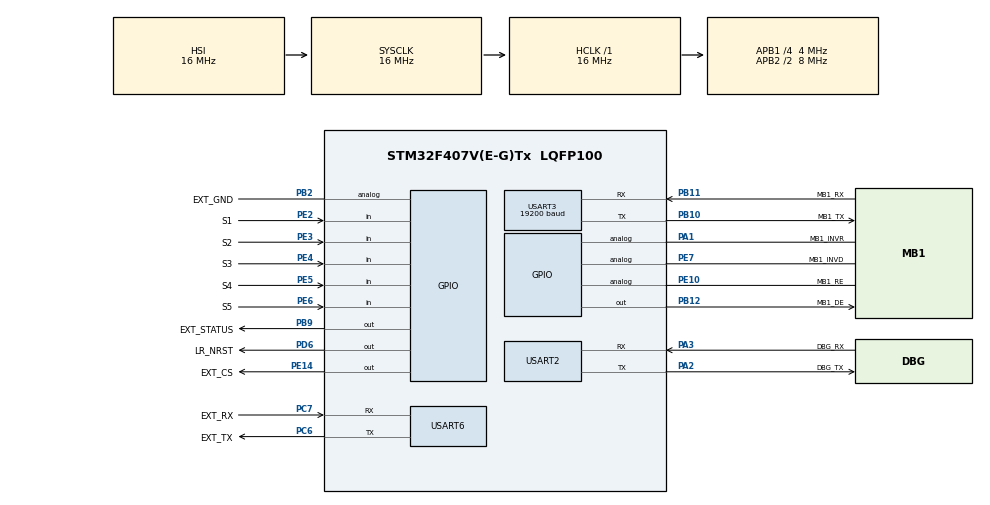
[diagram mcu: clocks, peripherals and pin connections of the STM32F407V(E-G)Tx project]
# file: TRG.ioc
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Dma.Request0=USART3_TX
Dma.Request1=USART3_RX
Dma.USART3_RX.1.Direction=DMA_PERIPH_TO_MEMORY
Dma.USART3_RX.1.FIFOMode=DMA_FIFOMODE_DISABLE
Dma.USART3_RX.1.Instance=DMA1_Stream1
Dma.USART3_RX.1.MemDataAlignment=DMA_MDATAALIGN_BYTE
Dma.USART3_RX.1.MemInc=DMA_MINC_ENABLE
Dma.USART3_RX.1.Mode=DMA_NORMAL
Dma.USART3_RX.1.PeriphDataAlignment=DMA_PDATAALIGN_BYTE
Dma.USART3_RX.1.PeriphInc=DMA_PINC_DISABLE
Dma.USART3_RX.1.Priority=DMA_PRIORITY_LOW
Dma.USART3_TX.0.Direction=DMA_MEMORY_TO_PERIPH
Dma.USART3_TX.0.FIFOMode=DMA_FIFOMODE_ENABLE
Dma.USART3_TX.0.FIFOThreshold=DMA_FIFO_THRESHOLD_FULL
Dma.USART3_TX.0.Instance=DMA1_Stream3
Dma.USART3_TX.0.MemBurst=DMA_MBURST_SINGLE
Dma.USART3_TX.0.MemDataAlignment=DMA_MDATAALIGN_BYTE
Dma.USART3_TX.0.MemInc=DMA_MINC_ENABLE
Dma.USART3_TX.0.Mode=DMA_NORMAL
Dma.USART3_TX.0.PeriphBurst=DMA_PBURST_SINGLE
Dma.USART3_TX.0.PeriphDataAlignment=DMA_PDATAALIGN_BYTE
Dma.USART3_TX.0.PeriphInc=DMA_PINC_DISABLE
Dma.USART3_TX.0.Priority=DMA_PRIORITY_LOW
FREERTOS.BinarySemaphores01=processBinarySem,Dynamic,NULL
FREERTOS.INCLUDE_eTaskGetState=1
FREERTOS.INCLUDE_vTaskDelayUntil=1
FREERTOS.INCLUDE_xEventGroupSetBitFromISR=1
FREERTOS.INCLUDE_xTaskGetCurrentTaskHandle=1
FREERTOS.INCLUDE_xTimerPendFunctionCall=1
FREERTOS.Mutexes01=processMutex,Dynamic,NULL
FREERTOS.Queues01=msgQueue,16,uint32_t,0,Dynamic,NULL,NULL
FREERTOS.Tasks01=defaultTask,0,128,StartDefaultTask,Default,NULL,Dynamic,NULL,NULL;modbusTask,0,1280,StartModbusTask,Default,NULL,Dynamic,NULL,NULL;loraTask,0,2048,StartLoRaTask,Default,NULL,Dynamic,NULL,NULL
FREERTOS.Timers01=modbusTimer,modbusTimerCallback,osTimerPeriodic,Default,NULL,Dynamic,NULL;heartbeatTimer,heartbeatTimerCallback,osTimerPeriodic,Default,NULL,Dynamic,NULL;telemetryTimer,telemetryTimerCallback,osTimerPeriodic,Default,NULL,Dynamic,NULL
FREERTOS.configCHECK_FOR_STACK_OVERFLOW=1
FREERTOS.configENABLE_FPU=1
FREERTOS.configGENERATE_RUN_TIME_STATS=1
FREERTOS.configUSE_NEWLIB_REENTRANT=1
FREERTOS.configUSE_POSIX_ERRNO=1
FREERTOS.configUSE_PREEMPTION=1
FREERTOS.configUSE_TIMERS=1
FREERTOS.configUSE_TRACE_FACILITY=1
Mcu.Family=STM32F4
Mcu.Name=STM32F407V(E-G)Tx
Mcu.Package=LQFP100
NVIC.DMA1_Stream1_IRQn=true\:0\:0\:false\:false\:true\:true\:false\:true
NVIC.DMA1_Stream3_IRQn=true\:0\:0\:false\:false\:true\:true\:false\:true
NVIC.PriorityGroup=NVIC_PRIORITYGROUP_4
NVIC.TIM6_DAC_IRQn=true\:0\:0\:false\:false\:true\:false\:false\:true
NVIC.TimeBase=TIM6_DAC_IRQn
NVIC.TimeBaseIP=TIM6
NVIC.USART2_IRQn=true\:0\:0\:false\:false\:true\:true\:true\:true
NVIC.USART3_IRQn=true\:0\:0\:false\:false\:true\:false\:true\:true
NVIC.USART6_IRQn=true\:0\:0\:false\:false\:true\:true\:true\:true
PA1.GPIO_Label=MB1_INVR
PA1.Signal=GPIO_Analog
PA1.Stacked=true
PA13.Mode=JTAG_4_pins
PA13.Signal=SYS_JTMS-SWDIO
PA14.Mode=JTAG_4_pins
PA14.Signal=SYS_JTCK-SWCLK
PA15.Mode=JTAG_4_pins
PA15.Signal=SYS_JTDI
PA2.GPIO_Label=DBG_TX
PA2.Mode=Asynchronous
PA2.Signal=USART2_TX
PA3.GPIO_Label=DBG_RX
PA3.Mode=Asynchronous
PA3.Signal=USART2_RX
PB0.GPIO_Label=EXT_TIM
PB0.Signal=S_TIM3_CH3
PB1.GPIO_Label=EXT_ADC
PB1.Signal=ADCx_IN9
PB10.GPIO_Label=MB1_TX
PB10.Signal=SharedStack_PB10
PB10.Stacked=true
PB11.GPIO_Label=MB1_RX
PB11.Signal=SharedStack_PB11
PB11.Stacked=true
PB12.GPIO_Label=MB1_DE
PB12.GPIO_PuPd=GPIO_PULLUP
PB12.GPIO_Speed=GPIO_SPEED_FREQ_VERY_HIGH
PB12.PinState=GPIO_PIN_SET
PB12.Signal=GPIO_Output
PB13.GPIO_Label=EXT_SCK
PB13.Signal=SPI2_SCK
PB14.GPIO_Label=EXT_MISO
PB14.Signal=SPI2_MISO
PB15.GPIO_Label=EXT_MOSI
PB15.Signal=SPI2_MOSI
PB2.GPIO_Label=EXT_GND
PB2.Signal=GPIO_Analog
PB2.Stacked=true
PB3.Mode=JTAG_4_pins
PB3.Signal=SYS_JTDO-SWO
PB7.GPIO_Label=EXT_SDA
PB7.Signal=I2C1_SDA
PB8.GPIO_Label=EXT_SCL
PB8.Signal=I2C1_SCL
PB9.GPIO_Label=EXT_STATUS
PB9.GPIO_PuPd=GPIO_PULLUP
PB9.GPIO_Speed=GPIO_SPEED_FREQ_VERY_HIGH
PB9.PinState=GPIO_PIN_SET
PB9.Signal=GPIO_Output
PC6.GPIO_Label=EXT_TX
PC6.GPIO_PuPd=GPIO_PULLUP
PC6.Mode=Asynchronous
PC6.Signal=USART6_TX
PC7.GPIO_Label=EXT_RX
PC7.GPIO_PuPd=GPIO_PULLUP
PC7.Mode=Asynchronous
PC7.Signal=USART6_RX
PD1.GPIO_Label=EXT_CAN_TX
PD1.Signal=CAN1_TX
PD6.GPIO_Label=LR_NRST
PD6.GPIO_PuPd=GPIO_PULLUP
PD6.GPIO_Speed=GPIO_SPEED_FREQ_VERY_HIGH
PD6.PinState=GPIO_PIN_SET
PD6.Signal=GPIO_Output
PE10.GPIO_Label=MB1_RE
PE10.GPIO_PuPd=GPIO_PULLUP
PE10.PinState=GPIO_PIN_SET
PE10.Signal=GPIO_Analog
PE10.Stacked=true
PE14.GPIO_Label=EXT_CS
PE14.GPIO_PuPd=GPIO_PULLUP
PE14.GPIO_Speed=GPIO_SPEED_FREQ_VERY_HIGH
PE14.PinState=GPIO_PIN_SET
PE14.Signal=GPIO_Output
PE2.GPIO_Label=S1
PE2.Signal=GPIO_Input
PE3.GPIO_Label=S2
PE3.Signal=GPIO_Input
PE4.GPIO_Label=S3
PE4.Signal=GPIO_Input
PE5.GPIO_Label=S4
PE5.Signal=GPIO_Input
PE6.GPIO_Label=S5
PE6.Signal=GPIO_Input
PE7.GPIO_Label=MB1_INVD
PE7.Signal=GPIO_Analog
PE7.Stacked=true
PH0-OSC_IN.Mode=HSE-External-Clock-Source
PH0-OSC_IN.Signal=RCC_OSC_IN
PH1-OSC_OUT.Mode=HSE-External-Clock-Source
PH1-OSC_OUT.Signal=RCC_OSC_OUT
ProjectManager.HeapSize=0x200
ProjectManager.StackSize=0x400
ProjectManager.TargetToolchain=STM32CubeIDE
RCC.48MHZClocksFreq_Value=112000000
RCC.AHBFreq_Value=16000000
RCC.APB1CLKDivider=RCC_HCLK_DIV4
RCC.APB1Freq_Value=4000000
RCC.APB1TimFreq_Value=8000000
RCC.APB2CLKDivider=RCC_HCLK_DIV2
RCC.APB2Freq_Value=8000000
RCC.APB2TimFreq_Value=16000000
RCC.CortexFreq_Value=16000000
RCC.HCLKFreq_Value=16000000
RCC.HSE_VALUE=8000000
RCC.HSI_VALUE=16000000
RCC.LSE_VALUE=32768
RCC.PLLM=8
RCC.PLLN=168
RCC.PLLQ=3
RCC.SYSCLKFreq_VALUE=16000000
RCC.VCOOutputFreq_Value=336000000
SH.ADCx_IN9.0=ADC1_IN9
SH.S_TIM3_CH3.0=TIM3_CH3
SH.SharedStack_PB10.0=USART3_TX,Asynchronous
SH.SharedStack_PB11.0=USART3_RX,Asynchronous
USART2.VirtualMode=VM_ASYNC
USART3.BaudRate=19200
USART3.Parity=PARITY_NONE
USART3.StopBits=STOPBITS_2
USART3.VirtualMode=VM_ASYNC
USART6.VirtualMode=VM_ASYNC
VP_FREERTOS_VS_CMSIS_V1.Mode=CMSIS_V1
VP_SYS_VS_tim6.Mode=TIM6
board=custom

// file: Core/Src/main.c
/* USER CODE BEGIN Header */
/**
  ******************************************************************************
  * @file           : main.c
  * @brief          : Main program body
  ******************************************************************************
  * @attention
  *
  * <h2><center>&copy; Copyright (c) 2020 STMicroelectronics.
  * All rights reserved.</center></h2>
  *
  * This software component is licensed by ST under BSD 3-Clause license,
  * the "License"; You may not use this file except in compliance with the
  * License. You may obtain a copy of the License at:
  *                        opensource.org/licenses/BSD-3-Clause
  *
  ******************************************************************************
  */
/* USER CODE END Header */
#include "main.h"
#include "cmsis_os.h"
#include "dma.h"
#include "usart.h"
#include "gpio.h"

/* USER CODE BEGIN Includes */
#include "ModBus.h"
#include "ModBusPort.h"
#include "stdio.h"
/* USER CODE END Includes */

void SystemClock_Config(void);
void MX_FREERTOS_Init(void);

/* USER CODE BEGIN 0 */
/**
 * @brief		Trace output for standard output
 */
int fputc(int ch, FILE *f) {
  return ITM_SendChar(ch);
}

int _read(int file, char *ptr, int len) {
  int DataIdx;

  for (DataIdx = 0; DataIdx < len; DataIdx++) {
    *(uint8_t *)ptr++ = __io_getchar();
  }

  return len;
}

int _write(int file, char *ptr, int len) {
  int DataIdx;

//  osSemaphoreWait(coreBinarySemHandle, 5000);

  for (DataIdx = 0; DataIdx < len; DataIdx++) {
    __io_putchar(*ptr++);
//    HAL_UART_Transmit(&huart2, (uint8_t *)ptr++, 1, 500);
  }

//  osSemaphoreRelease(coreBinarySemHandle);

  return len;
}

int __io_putchar(int ch) {
  return HAL_UART_Transmit(&huart2, (uint8_t *)&ch, 1, 500) == HAL_OK ? 0 : -1;
}

int __io_getchar(void)
{
	int ch;
	HAL_UART_Receive(&huart2, (uint8_t *)&ch, 1, 500);
	return ch;
}
/* USER CODE END 0 */

int main(void)
{

  /* MCU Configuration--------------------------------------------------------*/

  /* Reset of all peripherals, Initializes the Flash interface and the Systick. */
  HAL_Init();

  /* Configure the system clock */
  SystemClock_Config();

  /* USER CODE BEGIN SysInit */
  HAL_DBGMCU_EnableDBGSleepMode();
  HAL_DBGMCU_EnableDBGStandbyMode();
  HAL_DBGMCU_EnableDBGStopMode();
  /* USER CODE END SysInit */

  /* Initialize all configured peripherals */
  MX_GPIO_Init();
  MX_DMA_Init();
  MX_USART3_UART_Init();
  MX_USART2_UART_Init();
  MX_USART6_UART_Init();

  /* Call init function for freertos objects (in freertos.c) */
  MX_FREERTOS_Init();
  /* Start scheduler */
  osKernelStart();

  /* We should never get here as control is now taken by the scheduler */
  /* Infinite loop */
  while (1)
  {

  }
}

void SystemClock_Config(void)
{
  RCC_OscInitTypeDef RCC_OscInitStruct = {0};
  RCC_ClkInitTypeDef RCC_ClkInitStruct = {0};

  /** Configure the main internal regulator output voltage
  */
  __HAL_RCC_PWR_CLK_ENABLE();
  __HAL_PWR_VOLTAGESCALING_CONFIG(PWR_REGULATOR_VOLTAGE_SCALE1);
  /** Initializes the RCC Oscillators according to the specified parameters
  * in the RCC_OscInitTypeDef structure.
  */
  RCC_OscInitStruct.OscillatorType = RCC_OSCILLATORTYPE_HSI;
  RCC_OscInitStruct.HSIState = RCC_HSI_ON;
  RCC_OscInitStruct.HSICalibrationValue = RCC_HSICALIBRATION_DEFAULT;
  RCC_OscInitStruct.PLL.PLLState = RCC_PLL_NONE;
  if (HAL_RCC_OscConfig(&RCC_OscInitStruct) != HAL_OK)
  {
    Error_Handler();
  }
  /** Initializes the CPU, AHB and APB buses clocks
  */
  RCC_ClkInitStruct.ClockType = RCC_CLOCKTYPE_HCLK|RCC_CLOCKTYPE_SYSCLK
                              |RCC_CLOCKTYPE_PCLK1|RCC_CLOCKTYPE_PCLK2;
  RCC_ClkInitStruct.SYSCLKSource = RCC_SYSCLKSOURCE_HSI;
  RCC_ClkInitStruct.AHBCLKDivider = RCC_SYSCLK_DIV1;
  RCC_ClkInitStruct.APB1CLKDivider = RCC_HCLK_DIV4;
  RCC_ClkInitStruct.APB2CLKDivider = RCC_HCLK_DIV2;

  if (HAL_RCC_ClockConfig(&RCC_ClkInitStruct, FLASH_LATENCY_0) != HAL_OK)
  {
    Error_Handler();
  }
}

void HAL_TIM_PeriodElapsedCallback(TIM_HandleTypeDef *htim)
{
  if (htim->Instance == TIM6) {
    HAL_IncTick();
  }
  /* USER CODE BEGIN Callback 1 */
  else if (htim->Instance == TIM13)
  {

  }
  else if (htim->Instance == TIM14)
  {

  }
  /* USER CODE END Callback 1 */
}

void Error_Handler(void)
{
  /* USER CODE BEGIN Error_Handler_Debug */
  /* User can add his own implementation to report the HAL error return state */
	 NVIC_SystemReset();
  /* USER CODE END Error_Handler_Debug */
}

/************************ (C) COPYRIGHT STMicroelectronics *****END OF FILE****/

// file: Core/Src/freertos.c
/* USER CODE BEGIN Header */
/**
  ******************************************************************************
  * File Name          : freertos.c
  * Description        : Code for freertos applications
  ******************************************************************************
  * @attention
  *
  * <h2><center>&copy; Copyright (c) 2020 STMicroelectronics.
  * All rights reserved.</center></h2>
  *
  * This software component is licensed by ST under Ultimate Liberty license
  * SLA0044, the "License"; You may not use this file except in compliance with
  * the License. You may obtain a copy of the License at:
  *                             www.st.com/SLA0044
  *
  ******************************************************************************
  */
/* USER CODE END Header */

#include "FreeRTOS.h"
#include "task.h"
#include "main.h"
#include "cmsis_os.h"

/* USER CODE BEGIN Includes */
#include "string.h"
#include "ModBus.h"
#include "ModBusPort.h"
#include "WiMOD_LoRaWAN_API.h"
/* USER CODE END Includes */

/* USER CODE BEGIN PTD */
evState_t ev;
user_data_t sData_t;
/* USER CODE END PTD */

/* USER CODE BEGIN Variables */
int iSlaveId;
bool bReadyToSend = false;
uint32_t iCounter = 0;
/* USER CODE END Variables */
osThreadId defaultTaskHandle;
osThreadId modbusTaskHandle;
osThreadId loraTaskHandle;
osMessageQId msgQueueHandle;
osTimerId modbusTimerHandle;
osTimerId heartbeatTimerHandle;
osTimerId telemetryTimerHandle;
osMutexId processMutexHandle;
osSemaphoreId processBinarySemHandle;

/* USER CODE BEGIN FunctionPrototypes */
int loraDataRx(uint8_t fport, uint8_t* data, size_t len)
{
    switch(fport) {
    case 99:
       //Restart system
      NVIC_SystemReset();
      break;

    case 3:
      if(len == 1) {
        //lora tx perior
        sData_t.period = loraAppStatus.period = *data;
        ev.commu = RUNNING;
      }
      break;
    default: break;
    };
    return 0;
}
/* USER CODE END FunctionPrototypes */

void StartDefaultTask(void const * argument);
void StartModbusTask(void const * argument);
void StartLoRaTask(void const * argument);
void modbusTimerCallback(void const * argument);
void heartbeatTimerCallback(void const * argument);
void telemetryTimerCallback(void const * argument);

void MX_FREERTOS_Init(void); /* (MISRA C 2004 rule 8.1) */

/* GetIdleTaskMemory prototype (linked to static allocation support) */
void vApplicationGetIdleTaskMemory( StaticTask_t **ppxIdleTaskTCBBuffer, StackType_t **ppxIdleTaskStackBuffer, uint32_t *pulIdleTaskStackSize );

/* GetTimerTaskMemory prototype (linked to static allocation support) */
void vApplicationGetTimerTaskMemory( StaticTask_t **ppxTimerTaskTCBBuffer, StackType_t **ppxTimerTaskStackBuffer, uint32_t *pulTimerTaskStackSize );

/* Hook prototypes */
void configureTimerForRunTimeStats(void);
unsigned long getRunTimeCounterValue(void);
void vApplicationStackOverflowHook(xTaskHandle xTask, signed char *pcTaskName);

/* USER CODE BEGIN 1 */
/* Functions needed when configGENERATE_RUN_TIME_STATS is on */
__weak void configureTimerForRunTimeStats(void)
{

}

__weak unsigned long getRunTimeCounterValue(void)
{
return 0;
}
/* USER CODE END 1 */

/* USER CODE BEGIN 4 */
__weak void vApplicationStackOverflowHook(xTaskHandle xTask, signed char *pcTaskName)
{
   /* Run time stack overflow checking is performed if
   configCHECK_FOR_STACK_OVERFLOW is defined to 1 or 2. This hook function is
   called if a stack overflow is detected. */
}
/* USER CODE END 4 */

/* USER CODE BEGIN GET_IDLE_TASK_MEMORY */
static StaticTask_t xIdleTaskTCBBuffer;
static StackType_t xIdleStack[configMINIMAL_STACK_SIZE];

void vApplicationGetIdleTaskMemory( StaticTask_t **ppxIdleTaskTCBBuffer, StackType_t **ppxIdleTaskStackBuffer, uint32_t *pulIdleTaskStackSize )
{
  *ppxIdleTaskTCBBuffer = &xIdleTaskTCBBuffer;
  *ppxIdleTaskStackBuffer = &xIdleStack[0];
  *pulIdleTaskStackSize = configMINIMAL_STACK_SIZE;
  /* place for user code */
}
/* USER CODE END GET_IDLE_TASK_MEMORY */

/* USER CODE BEGIN GET_TIMER_TASK_MEMORY */
static StaticTask_t xTimerTaskTCBBuffer;
static StackType_t xTimerStack[configTIMER_TASK_STACK_DEPTH];

void vApplicationGetTimerTaskMemory( StaticTask_t **ppxTimerTaskTCBBuffer, StackType_t **ppxTimerTaskStackBuffer, uint32_t *pulTimerTaskStackSize )
{
  *ppxTimerTaskTCBBuffer = &xTimerTaskTCBBuffer;
  *ppxTimerTaskStackBuffer = &xTimerStack[0];
  *pulTimerTaskStackSize = configTIMER_TASK_STACK_DEPTH;
  /* place for user code */
}
/* USER CODE END GET_TIMER_TASK_MEMORY */

void MX_FREERTOS_Init(void) {
  /* Create the mutex(es) */
  /* definition and creation of processMutex */
  osMutexDef(processMutex);
  processMutexHandle = osMutexCreate(osMutex(processMutex));

  /* Create the semaphores(s) */
  /* definition and creation of processBinarySem */
  osSemaphoreDef(processBinarySem);
  processBinarySemHandle = osSemaphoreCreate(osSemaphore(processBinarySem), 1);

  /* Create the timer(s) */
  /* definition and creation of modbusTimer */
  osTimerDef(modbusTimer, modbusTimerCallback);
  modbusTimerHandle = osTimerCreate(osTimer(modbusTimer), osTimerPeriodic, NULL);

  /* definition and creation of heartbeatTimer */
  osTimerDef(heartbeatTimer, heartbeatTimerCallback);
  heartbeatTimerHandle = osTimerCreate(osTimer(heartbeatTimer), osTimerPeriodic, NULL);

  /* definition and creation of telemetryTimer */
  osTimerDef(telemetryTimer, telemetryTimerCallback);
  telemetryTimerHandle = osTimerCreate(osTimer(telemetryTimer), osTimerPeriodic, NULL);

  /* Create the queue(s) */
  /* definition and creation of msgQueue */
  osMessageQDef(msgQueue, 16, uint32_t);
  msgQueueHandle = osMessageCreate(osMessageQ(msgQueue), NULL);

  /* Create the thread(s) */
  /* definition and creation of defaultTask */
  osThreadDef(defaultTask, StartDefaultTask, osPriorityNormal, 0, 128);
  defaultTaskHandle = osThreadCreate(osThread(defaultTask), NULL);

  /* definition and creation of modbusTask */
  osThreadDef(modbusTask, StartModbusTask, osPriorityNormal, 0, 1280);
  modbusTaskHandle = osThreadCreate(osThread(modbusTask), NULL);

  /* definition and creation of loraTask */
  osThreadDef(loraTask, StartLoRaTask, osPriorityNormal, 0, 2048);
  loraTaskHandle = osThreadCreate(osThread(loraTask), NULL);

}

void StartDefaultTask(void const * argument)
{
  /* USER CODE BEGIN StartDefaultTask */
  osTimerStart(heartbeatTimerHandle, 200);
  /* Infinite loop */
  for(;;)
  {
	  if(iCounter++ == (86400 / 6))
		  NVIC_SystemReset();
	  osDelay(1000);
  }
  /* USER CODE END StartDefaultTask */
}

void StartModbusTask(void const * argument)
{
  /* USER CODE BEGIN StartModbusTask */
	int i, j;
	ev.sensor = POST;
  /* Infinite loop */
  for(;;)
  {
		switch (ev.sensor) {
		case POST:
			InitModbusMaster();
			osTimerStart(modbusTimerHandle, 1000);
			ev.sensor = IDLE;
			break;
		case IDLE:
//			while(bReadyToSend == false)
				osDelay(1000);
			ev.sensor = RUNNING;
			break;
		case SETTING:
			break;
		case RUNNING:
			for (j = 0; j < NUMBER_MASTER_LOOKUP_SLAVE; ++j)
			{
				iSlaveId = j+1;
				for (i = 0; i < NUMBER_MASTER_LOOKUP_INPUTS; ++i) {
					while (ModBusMasterRead(iSlaveId, 3,
							MasterLookupTableInputs[i].LookupAddress,
							MasterLookupTableInputs[i].Size, 3500) != TRUE) {
						osDelay(10);
						MasterReadTimerValue += 10;
					}
					osDelay(500);
				}
//				ev.commu = RUNNING;
//				while(ev.commu != IDLE);
				osDelay(1000);
			}
			ev.sensor = IDLE;
			break;
		case ALARM:
			break;
		case FAILSAFE:
			break;
		default:
			break;
		}
	osDelay(1);
  }
  /* USER CODE END StartModbusTask */
}

void StartLoRaTask(void const * argument)
{
  /* USER CODE BEGIN StartLoRaTask */
	ev.commu = POST;
	//  uint8_t mac_cmd[] = {0x01, 0x02};
	uint8_t i, j, buf[40] = {};
	//  struct user_data_t *st;
//  osTimerStart(telemetryTimerHandle, 15000);
	/* Infinite loop */
	for (;;) {
		WiMOD_LoRaWAN_Process();
		switch (ev.commu) {
		case POST:
			memset(buf, 0x0, sizeof(buf));
			WiMOD_LoRaWAN_Init();
//			//      Reset();
//			HAL_GPIO_WritePin(LR_NRST_GPIO_Port, LR_NRST_Pin, GPIO_PIN_SET);
//			osDelay(100);
//			HAL_GPIO_WritePin(LR_NRST_GPIO_Port, LR_NRST_Pin, GPIO_PIN_RESET);
//			osDelay(100);
//			HAL_GPIO_WritePin(LR_NRST_GPIO_Port, LR_NRST_Pin, GPIO_PIN_SET);
//			osDelay(1000);
//
			while (Ping() == 0)
				osDelay(1000);
//			//      FactoryReset();
//			//      osDelay(10000);
//			//        LORA_state = LORA_RUNNING;
//
			ev.commu = SETTING;
			break;
		case IDLE:
			osDelay(1000);
//			//      osThreadSuspend(&commuTaskHandle);
//			//      WiMOD_LoRaWAN_SetMAC_CMD(&mac_cmd, sizeof(mac_cmd));
			if (GetNwkStatus() != 1) {
				//        LORA_state = LORA_IDLE;
				ev.commu = FAILSAFE;
				//      else
				//        LORA_state = LORA_ERROR;
			} else {
				osDelay(5000);

				if (loraAppStatus.maxPlayloadSize < loraAppStatus.playloadSize)
					ev.commu = FAILSAFE;
			}
			bReadyToSend = true;
			ev.commu = RUNNING;
			break;
		case SETTING:

			GetOPMODE();
			osDelay(1000);

			SetOPMODE(3);
			osDelay(5000);

			if (loraAppStatus.opMode != 0) {
				SetLinkADR();
				osDelay(1000);
				SetDevEUI();
				osDelay(5000);
				SetOPMODE(0);
				osDelay(1000);
			}

			SetRadioStack();
			osDelay(1000);

			GetDeviceInfo();
			osDelay(5000);

			GetDevEUI();
			osDelay(5000);

//			Deactivate();
//			osDelay(500);

			ActivateABP();
			osDelay(5000);

			//      WiMOD_LoRaWAN_SetMAC_CMD(&mac_cmd, sizeof(mac_cmd));
			//
			//      osDelay(5000);
////			osTimerStart(telemetryTimerHandle, 5000 * loraAppStatus.period);
			ev.commu = IDLE;
			break;
		case RUNNING:
//
//			//      if(GetDeviceStatus() != 0) {
//			//        ev.commu = FAILSAFE;
//			//        break;
//			//      }
//
////			BSP_LED_Toggle(LED6);
			bReadyToSend = false;
			for (i = 0; i < NUMBER_MASTER_LOOKUP_INPUTS; ++i) {
				buf[0] = i;
				for (j = 0; j < MasterLookupTableInputs[i].Size; ++j) {
					memcpy(&buf[(j*2) + 1], &MasterLookupTableInputs[i].RegisterInput[j].ActValue, sizeof(int));
				}
				SendUData(iSlaveId + 1, (uint8_t *) &buf,
						(sizeof(int16_t) * MasterLookupTableInputs[i].Size) + 1);
//				osDelay(5000);
			}

//			SendUData(MasterTx_Buf[0] + 1, (uint8_t *) &sData_t, sizeof(sData_t));
//			//TODO:Send Data
			ev.commu = ALARM;
			break;
		case ALARM:
			ev.commu = IDLE;
			break;
		case FAILSAFE:
////			osMailFree(msgMailHandle, &sData_t);
//			Reactivate();
//
//			osDelay(5000);
//
//			ev.commu = POST;
//
			break;
		default:
			ev.commu = POST;
			break;
		}
		osDelay(10);
	}

  /* USER CODE END StartLoRaTask */
}

/* modbusTimerCallback function */
void modbusTimerCallback(void const * argument)
{
  /* USER CODE BEGIN modbusTimerCallback */
//  MasterReadTimerValue += 1000;

  /* USER CODE END modbusTimerCallback */
}

/* heartbeatTimerCallback function */
void heartbeatTimerCallback(void const * argument)
{
}

/* telemetryTimerCallback function */
void telemetryTimerCallback(void const * argument)
{
}

/************************ (C) COPYRIGHT STMicroelectronics *****END OF FILE****/
